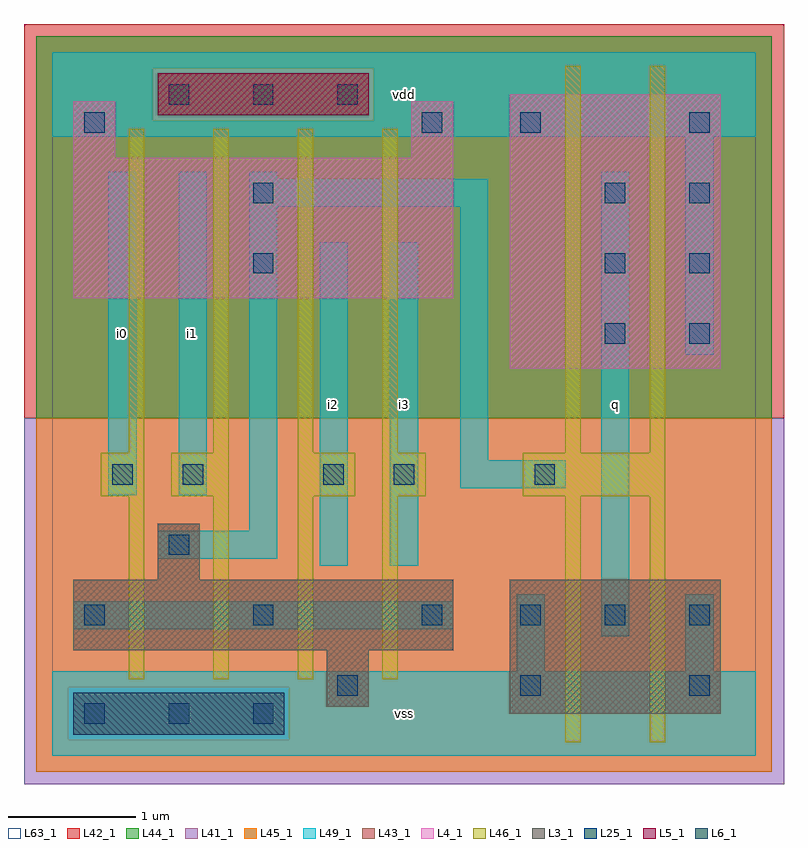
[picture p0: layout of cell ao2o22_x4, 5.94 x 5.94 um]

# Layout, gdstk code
import gdstk
lib = gdstk.Library(unit=1e-6, precision=1e-09)
def R(c, l, rs):  # rectangles x0, y0, x1, y1
    for r in rs: c.add(gdstk.rectangle(r[:2], r[2:], *l))
def A(c, l, x, y, w, h, nx, ny, dx, dy):  # array of equal rectangles
    R(c, l, [(x+i*dx, y+j*dy, x+i*dx+w, y+j*dy+h) for i in range(nx) for j in range(ny)])
L3_1 = (3, 1)
L4_1 = (4, 1)
L5_1 = (5, 1)
L6_1 = (6, 1)
L25_1 = (25, 1)
L41_1 = (41, 1)
L42_1 = (42, 1)
L43_1 = (43, 1)
L44_1 = (44, 1)
L45_1 = (45, 1)
L46_1 = (46, 1)
L49_1 = (49, 1)
L63_1 = (63, 1)

ao2o22_x4 = lib.new_cell('ao2o22_x4')
R(ao2o22_x4, L3_1, [(3.575,0.33,5.225,1.375), (2.145,0.385,2.475,0.825), (0.165,0.825,3.135,1.375), (0.825,1.375,1.155,1.815)])
R(ao2o22_x4, L4_1, [(3.575,3.025,5.225,5.17), (0.165,3.575,3.135,4.675), (0.165,4.675,0.495,5.115), (2.805,4.675,3.135,5.115)])
R(ao2o22_x4, L5_1, [(0.825,5.005,2.475,5.335)])
R(ao2o22_x4, L6_1, [(0.165,0.165,1.815,0.495)])
A(ao2o22_x4, L25_1, 0.25, 0.25, 0.16, 0.16, 3, 1, 0.66, 0)
A(ao2o22_x4, L25_1, 0.25, 1.02, 0.16, 0.16, 3, 1, 1.32, 0)
A(ao2o22_x4, L25_1, 3.66, 1.02, 0.16, 0.16, 3, 1, 0.66, 0)
A(ao2o22_x4, L25_1, 4.32, 3.22, 0.16, 0.16, 1, 3, 0, 0.55)
A(ao2o22_x4, L25_1, 4.98, 3.22, 0.16, 0.16, 1, 4, 0, 0.55)
A(ao2o22_x4, L25_1, 0.91, 5.09, 0.16, 0.16, 3, 1, 0.66, 0)
R(ao2o22_x4, L25_1, [(2.23,0.47,2.39,0.63), (3.66,0.47,3.82,0.63), (4.98,0.47,5.14,0.63), (0.91,1.57,1.07,1.73), (0.47,2.12,0.63,2.28), (1.02,2.12,1.18,2.28), (2.12,2.12,2.28,2.28), (2.67,2.12,2.83,2.28), (3.77,2.12,3.93,2.28), (1.57,3.77,1.73,3.93), (1.57,4.32,1.73,4.48), (0.25,4.87,0.41,5.03), (2.89,4.87,3.05,5.03), (3.66,4.87,3.82,5.03)])
R(ao2o22_x4, L41_1, [(-0.22,-0.22,5.72,2.64)])
R(ao2o22_x4, L42_1, [(-0.22,2.64,5.72,5.72)])
R(ao2o22_x4, L43_1, [(0.165,0.165,1.815,0.495), (3.575,0.33,5.225,1.375), (2.145,0.385,2.475,0.825), (0.165,0.825,3.135,1.375), (0.825,1.375,1.155,1.815), (3.575,3.025,5.225,5.17), (0.165,3.575,3.135,4.675), (0.165,4.675,0.495,5.115), (2.805,4.675,3.135,5.115), (0.825,5.005,2.475,5.335)])
R(ao2o22_x4, L44_1, [(0.125,0.125,1.855,0.535), (-0.125,2.64,5.625,4.965), (-0.125,4.965,0.785,5.375), (2.515,4.965,5.625,5.375), (-0.125,5.375,5.625,5.625)])
R(ao2o22_x4, L45_1, [(-0.125,-0.125,5.625,0.125), (-0.125,0.125,0.125,0.535), (1.855,0.125,5.625,0.535), (-0.125,0.535,5.625,2.64), (0.785,4.965,2.515,5.375)])
A(ao2o22_x4, L46_1, 0.6, 0.6, 0.12, 1.43, 4, 1, 0.66, 0)
A(ao2o22_x4, L46_1, 0.6, 2.37, 0.12, 2.53, 4, 1, 0.66, 0)
R(ao2o22_x4, L46_1, [(4.01,0.105,4.13,2.03), (4.67,0.105,4.79,2.03), (0.38,2.03,0.72,2.37), (0.93,2.03,1.38,2.37), (1.92,2.03,2.37,2.37), (2.58,2.03,2.92,2.37), (3.68,2.03,4.79,2.37), (4.01,2.37,4.13,5.395), (4.67,2.37,4.79,5.395)])
R(ao2o22_x4, L49_1, [(0,0,5.5,0.66), (3.63,0.66,3.85,1.265), (4.95,0.66,5.17,1.265), (4.29,0.935,4.51,4.565), (0.165,0.99,3.135,1.21), (2.09,1.485,2.31,4.015), (2.64,1.485,2.86,4.015), (0.825,1.54,1.76,1.76), (1.54,1.76,1.76,4.29), (0.44,2.035,0.66,4.565), (0.99,2.035,1.21,4.565), (3.19,2.09,4.015,2.31), (3.19,2.31,3.41,4.29), (4.95,3.135,5.17,4.84), (1.54,4.29,3.41,4.51), (1.54,4.51,1.76,4.565), (0,4.84,5.5,5.5)])
R(ao2o22_x4, L63_1, [(0,0,5.5,5.5)])
ao2o22_x4.add(gdstk.Label('i0', (0.55,3.3), layer=49, texttype=1))
ao2o22_x4.add(gdstk.Label('i1', (1.1,3.3), layer=49, texttype=1))
ao2o22_x4.add(gdstk.Label('i2', (2.2,2.75), layer=49, texttype=1))
ao2o22_x4.add(gdstk.Label('vss', (2.75,0.33), layer=49, texttype=1))
ao2o22_x4.add(gdstk.Label('i3', (2.75,2.75), layer=49, texttype=1))
ao2o22_x4.add(gdstk.Label('vdd', (2.75,5.17), layer=49, texttype=1))
ao2o22_x4.add(gdstk.Label('q', (4.4,2.75), layer=49, texttype=1))

lib.write_gds('ao2o22_x4.gds')
